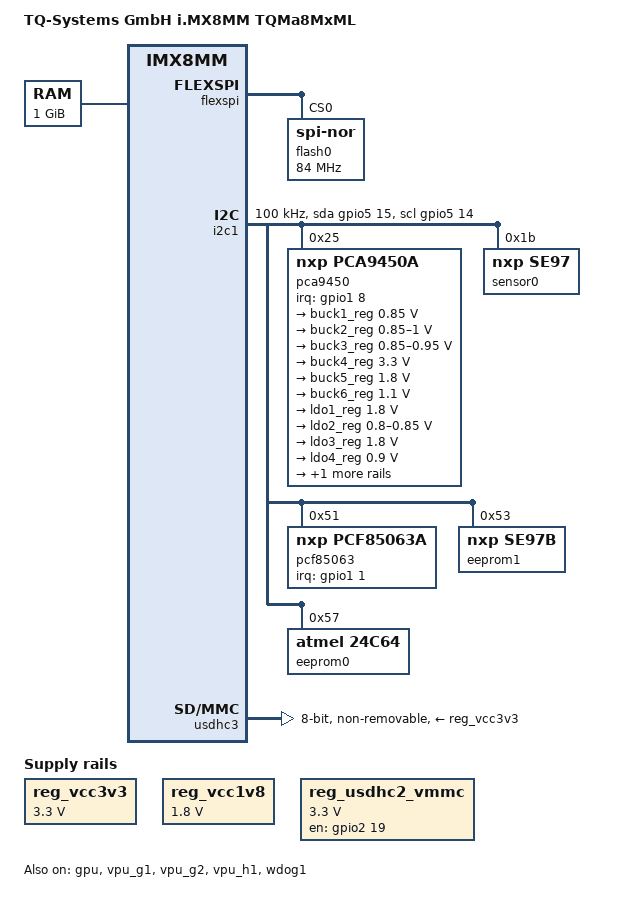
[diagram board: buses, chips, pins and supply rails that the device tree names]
// SPDX-License-Identifier: (GPL-2.0-or-later OR MIT)
/*
 * Copyright 2020-2021 TQ-Systems GmbH
 */

/ {
	model = "TQ-Systems GmbH i.MX8MM TQMa8MxML";
	compatible = "tq,imx8mm-tqma8mxml", "fsl,imx8mm";

	chosen {
	};

	memory@40000000 {
		device_type = "memory";
		/*  our minimum RAM config will be 1024 MiB */
		reg = <0x00000000 0x40000000 0 0x40000000>;
	};

	/* identical to buck4_reg, but should never change */
	reg_vcc3v3: regulator-vcc3v3 {
		compatible = "regulator-fixed";
		regulator-name = "TQMA8MXML_VCC3V3";
		regulator-min-microvolt = <3300000>;
		regulator-max-microvolt = <3300000>;
		regulator-always-on;
	};

	/* e-MMC IO, needed for HS modes */
	reg_vcc1v8: regulator-vcc1v8 {
		compatible = "regulator-fixed";
		regulator-name = "TQMA8MXML_VCC1V8";
		regulator-min-microvolt = <1800000>;
		regulator-max-microvolt = <1800000>;
		regulator-always-on;
	};

	reg_usdhc2_vmmc: regulator-vmmc {
		compatible = "regulator-fixed";
		pinctrl-names = "default";
		pinctrl-0 = <&pinctrl_reg_usdhc2_vmmc>;
		regulator-name = "VSD_3V3";
		regulator-min-microvolt = <3300000>;
		regulator-max-microvolt = <3300000>;
		gpio = <&gpio2 19 GPIO_ACTIVE_HIGH>;
		enable-active-high;
		startup-delay-us = <100>;
		off-on-delay-us = <12000>;
	};

	reserved-memory {
		#address-cells = <2>;
		#size-cells = <2>;
		ranges;

		/* global autoconfigured region for contiguous allocations */
		linux,cma {
			compatible = "shared-dma-pool";
			reusable;
			/* 640 MiB */
			size = <0 0x28000000>;
			/*  1024 - 128 MiB, our minimum RAM config will be 1024 MiB */
			alloc-ranges = <0 0x40000000 0 0x78000000>;
			linux,cma-default;
		};
	};
};

&A53_0 {
	cpu-supply = <&buck2_reg>;
};

&gpu {
	status = "okay";
};

/*
 * TODO:
 * improve SPI clock
 */
&flexspi {
	pinctrl-names = "default";
	pinctrl-0 = <&pinctrl_flexspi>;
/* TODO: */
/*	fsl,qspi-no-dtr-modes; */
	status = "okay";

	flash0: flash@0 {
		reg = <0>;
		#address-cells = <1>;
		#size-cells = <1>;
		compatible = "jedec,spi-nor";
		spi-max-frequency = <84000000>;
		spi-tx-bus-width = <4>;
		spi-rx-bus-width = <4>;
		/* TODO: not used in spi-nor / fsl-qspi but in fsl-flexspi */
/*		spi-nor,ddr-quad-read-dummy = <8>; */
		spi-nor,ddr-quad-read-dummy = <6>;
		/* used for macronix flash only */
		macronix,dsr = <0x3>;
	};
};

&iomuxc {
	pinctrl_flexspi: flexspigrp {
		fsl,pins = <
			MX8MM_IOMUXC_NAND_ALE_QSPI_A_SCLK	0x84
			MX8MM_IOMUXC_NAND_CE0_B_QSPI_A_SS0_B	0x84
			MX8MM_IOMUXC_NAND_DATA00_QSPI_A_DATA0	0x84
			MX8MM_IOMUXC_NAND_DATA01_QSPI_A_DATA1	0x84
			MX8MM_IOMUXC_NAND_DATA02_QSPI_A_DATA2	0x84
			MX8MM_IOMUXC_NAND_DATA03_QSPI_A_DATA3	0x84
		>;
	};

	pinctrl_i2c1: i2c1grp {
		fsl,pins = <
			MX8MM_IOMUXC_I2C1_SCL_I2C1_SCL		0x40000004
			MX8MM_IOMUXC_I2C1_SDA_I2C1_SDA		0x40000004
		>;
	};

	pinctrl_i2c1_gpio: i2c1gpiogrp {
		fsl,pins = <
			MX8MM_IOMUXC_I2C1_SCL_GPIO5_IO14	0x40000004
			MX8MM_IOMUXC_I2C1_SDA_GPIO5_IO15	0x40000004
		>;
	};

	pinctrl_pmic: pmicgrp {
		fsl,pins = <
			MX8MM_IOMUXC_GPIO1_IO08_GPIO1_IO8	0x94
		>;
	};

	pinctrl_rtc: rtcgrp {
		fsl,pins = <
			MX8MM_IOMUXC_GPIO1_IO01_GPIO1_IO1	0x94
		>;
	};

	pinctrl_usdhc3: usdhc3grp {
		fsl,pins = <
			MX8MM_IOMUXC_NAND_WE_B_USDHC3_CLK		0x1d4
			MX8MM_IOMUXC_NAND_WP_B_USDHC3_CMD		0x1d2
			MX8MM_IOMUXC_NAND_DATA04_USDHC3_DATA0		0x1d4
			MX8MM_IOMUXC_NAND_DATA05_USDHC3_DATA1		0x1d4
			MX8MM_IOMUXC_NAND_DATA06_USDHC3_DATA2		0x1d4
			MX8MM_IOMUXC_NAND_DATA07_USDHC3_DATA3		0x1d4
			MX8MM_IOMUXC_NAND_RE_B_USDHC3_DATA4		0x1d4
			MX8MM_IOMUXC_NAND_CE2_B_USDHC3_DATA5		0x1d4
			MX8MM_IOMUXC_NAND_CE3_B_USDHC3_DATA6		0x1d4
			MX8MM_IOMUXC_NAND_CLE_USDHC3_DATA7		0x1d4
			MX8MM_IOMUXC_NAND_CE1_B_USDHC3_STROBE		0x84
			/* option USDHC3_RESET_B not defined, only in RM */
			MX8MM_IOMUXC_NAND_READY_B_GPIO3_IO16		0x84
		>;
	};

	pinctrl_usdhc3_100mhz: usdhc3grp100mhz {
		fsl,pins = <
			MX8MM_IOMUXC_NAND_WE_B_USDHC3_CLK		0x1d2
			MX8MM_IOMUXC_NAND_WP_B_USDHC3_CMD		0x1d2
			MX8MM_IOMUXC_NAND_DATA04_USDHC3_DATA0		0x1d4
			MX8MM_IOMUXC_NAND_DATA05_USDHC3_DATA1		0x1d4
			MX8MM_IOMUXC_NAND_DATA06_USDHC3_DATA2		0x1d4
			MX8MM_IOMUXC_NAND_DATA07_USDHC3_DATA3		0x1d4
			MX8MM_IOMUXC_NAND_RE_B_USDHC3_DATA4		0x1d4
			MX8MM_IOMUXC_NAND_CE2_B_USDHC3_DATA5		0x1d4
			MX8MM_IOMUXC_NAND_CE3_B_USDHC3_DATA6		0x1d4
			MX8MM_IOMUXC_NAND_CLE_USDHC3_DATA7		0x1d4
			MX8MM_IOMUXC_NAND_CE1_B_USDHC3_STROBE		0x84
			/* option USDHC3_RESET_B not defined, only in RM */
			MX8MM_IOMUXC_NAND_READY_B_GPIO3_IO16		0x84
		>;
	};

	pinctrl_usdhc3_200mhz: usdhc3grp200mhz {
		fsl,pins = <
			MX8MM_IOMUXC_NAND_WE_B_USDHC3_CLK		0x1d6
			MX8MM_IOMUXC_NAND_WP_B_USDHC3_CMD		0x1d2
			MX8MM_IOMUXC_NAND_DATA04_USDHC3_DATA0		0x1d4
			MX8MM_IOMUXC_NAND_DATA05_USDHC3_DATA1		0x1d4
			MX8MM_IOMUXC_NAND_DATA06_USDHC3_DATA2		0x1d4
			MX8MM_IOMUXC_NAND_DATA07_USDHC3_DATA3		0x1d4
			MX8MM_IOMUXC_NAND_RE_B_USDHC3_DATA4		0x1d4
			MX8MM_IOMUXC_NAND_CE2_B_USDHC3_DATA5		0x1d4
			MX8MM_IOMUXC_NAND_CE3_B_USDHC3_DATA6		0x1d4
			MX8MM_IOMUXC_NAND_CLE_USDHC3_DATA7		0x1d4
			MX8MM_IOMUXC_NAND_CE1_B_USDHC3_STROBE		0x84
			/* option USDHC3_RESET_B not defined, only in RM */
			MX8MM_IOMUXC_NAND_READY_B_GPIO3_IO16		0x84
		>;
	};

	pinctrl_reg_usdhc2_vmmc: regusdhc2vmmc {
		fsl,pins = <
			MX8MM_IOMUXC_SD2_RESET_B_GPIO2_IO19		0x84
		>;
	};

	pinctrl_wdog: wdoggrp {
		fsl,pins = <
			MX8MM_IOMUXC_GPIO1_IO02_WDOG1_WDOG_B	0x84
		>;
	};
};

&i2c1 {
	clock-frequency = <100000>;
	pinctrl-names = "default", "gpio";
	pinctrl-0 = <&pinctrl_i2c1>;
	pinctrl-1 = <&pinctrl_i2c1_gpio>;
	scl-gpios = <&gpio5 14 GPIO_ACTIVE_HIGH>;
	sda-gpios = <&gpio5 15 GPIO_ACTIVE_HIGH>;
	status = "okay";

	pca9450: pmic@25 {
		/* note: "nxp,pca9450" not used with 5.10 driver */
		compatible = "nxp,pca9450a";
		reg = <0x25>;

		/* PMIC PCA9450 PMIC_nINT GPIO1_IO08 */
		pinctrl-0 = <&pinctrl_pmic>;
		pinctrl-names = "default";
		interrupt-parent = <&gpio1>;
		interrupts = <8 IRQ_TYPE_LEVEL_LOW>;

		regulators {
			/* V_0V85_SOC: 0.85 */
			buck1_reg: BUCK1 {
				regulator-name = "BUCK1";
				regulator-min-microvolt = <850000>;
				regulator-max-microvolt = <850000>;
				regulator-boot-on;
				regulator-always-on;
				regulator-ramp-delay = <3125>;
			};

			/* VDD_ARM */
			buck2_reg: BUCK2 {
				regulator-name = "BUCK2";
				regulator-min-microvolt = <850000>;
				regulator-max-microvolt = <1000000>;
				regulator-boot-on;
				regulator-always-on;
				nxp,dvs-run-voltage = <950000>;
				nxp,dvs-standby-voltage = <850000>;
				regulator-ramp-delay = <3125>;
			};

			/* V_0V85_GPU / DRAM / VPU */
			buck3_reg: BUCK3 {
				regulator-name = "BUCK3";
				regulator-min-microvolt = <850000>;
				regulator-max-microvolt = <950000>;
				regulator-boot-on;
				regulator-always-on;
				regulator-ramp-delay = <3125>;
			};

			/* VCC3V3 -> VMMC, ... must not be changed */
			buck4_reg: BUCK4 {
				regulator-name = "BUCK4";
				regulator-min-microvolt = <3300000>;
				regulator-max-microvolt = <3300000>;
				regulator-boot-on;
				regulator-always-on;
			};

			/* V_1V8 -> VQMMC, SPI-NOR, ... must not be changed */
			buck5_reg: BUCK5 {
				regulator-name = "BUCK5";
				regulator-min-microvolt = <1800000>;
				regulator-max-microvolt = <1800000>;
				regulator-boot-on;
				regulator-always-on;
			};

			/* V_1V1 -> RAM, ... must not be changed */
			buck6_reg: BUCK6 {
				regulator-name = "BUCK6";
				regulator-min-microvolt = <1100000>;
				regulator-max-microvolt = <1100000>;
				regulator-boot-on;
				regulator-always-on;
			};

			/* V_1V8_SNVS */
			ldo1_reg: LDO1 {
				regulator-name = "LDO1";
				regulator-min-microvolt = <1800000>;
				regulator-max-microvolt = <1800000>;
				regulator-boot-on;
				regulator-always-on;
			};

			/* V_0V8_SNVS */
			ldo2_reg: LDO2 {
				regulator-name = "LDO2";
				regulator-min-microvolt = <800000>;
				regulator-max-microvolt = <850000>;
				regulator-boot-on;
				regulator-always-on;
			};

			/* V_1V8_ANA */
			ldo3_reg: LDO3 {
				regulator-name = "LDO3";
				regulator-min-microvolt = <1800000>;
				regulator-max-microvolt = <1800000>;
				regulator-boot-on;
				regulator-always-on;
			};

			/* V_0V9_MIPI */
			ldo4_reg: LDO4 {
				regulator-name = "LDO4";
				regulator-min-microvolt = <900000>;
				regulator-max-microvolt = <900000>;
				regulator-boot-on;
				regulator-always-on;
			};

			/* VCC SD IO - switched using SD2 VSELECT */
			ldo5_reg: LDO5 {
				regulator-name = "LDO5";
				regulator-min-microvolt = <1800000>;
				regulator-max-microvolt = <3300000>;
			};
		};
	};

	/*
	 * NXP SE97BTP with temperature sensor + eeprom
	 */
	sensor0: temperature-sensor-eeprom@1b {
		compatible = "nxp,se97", "jedec,jc-42.4-temp";
		reg = <0x1b>;
	};

	pcf85063: rtc@51 {
		compatible = "nxp,pcf85063a";
		reg = <0x51>;
		pinctrl-names = "default";
		pinctrl-0 = <&pinctrl_rtc>;
		interrupt-names = "irq";
		interrupt-parent = <&gpio1>;
		interrupts = <1 IRQ_TYPE_EDGE_FALLING>;
		quartz-load-femtofarads = <7000>;
	};

	eeprom1: eeprom@53 {
		compatible = "nxp,se97b", "atmel,24c02";
		read-only;
		reg = <0x53>;
		pagesize = <16>;
	};

	eeprom0: eeprom@57 {
		compatible = "atmel,24c64";
		reg = <0x57>;
		pagesize = <32>;
	};
};

&pcie0 {
	/* remove until we fix it */
	/delete-property/ reserved-region;
	/* WAKE / CLKREQ not implemented */
	l1ss-disabled;
};

&rpmsg{
	status = "disabled";
};

&usdhc3 {
	pinctrl-names = "default", "state_100mhz", "state_200mhz";
	pinctrl-0 = <&pinctrl_usdhc3>;
	pinctrl-1 = <&pinctrl_usdhc3_100mhz>;
	pinctrl-2 = <&pinctrl_usdhc3_200mhz>;
	bus-width = <8>;
	non-removable;
	no-sd;
	no-sdio;
	vmmc-supply = <&reg_vcc3v3>;
	vqmmc-supply = <&reg_vcc1v8>;
	status = "okay";
};

&vpu_g1 {
	status = "okay";
};

&vpu_g2 {
	status = "okay";
};

&vpu_h1 {
	status = "okay";
};

/*
 * Attention:
 * wdog reset is routed to PMIC, PMIC must be preconfigured to force POR
 * without LDO for SNVS. GPIO1_IO02 must not be used as GPIO.
 */
&wdog1 {
	pinctrl-names = "default";
	pinctrl-0 = <&pinctrl_wdog>;
	fsl,ext-reset-output;
	status = "okay";
};
